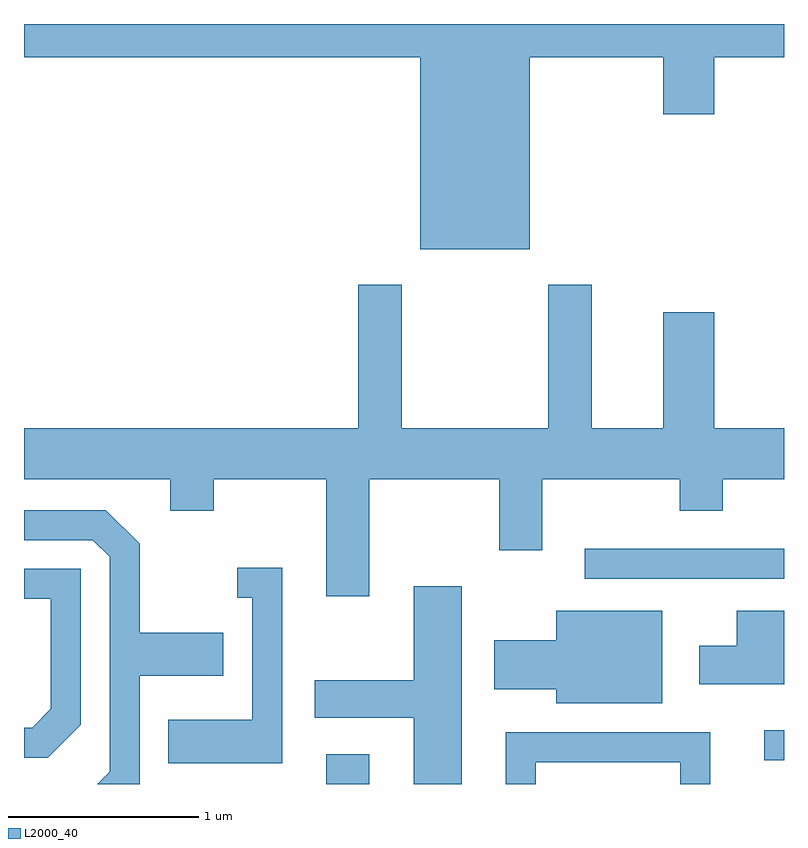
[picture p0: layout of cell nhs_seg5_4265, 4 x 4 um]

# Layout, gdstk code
import gdstk
lib = gdstk.Library(unit=1e-6, precision=1e-09)
def R(c, l, rs):  # rectangles x0, y0, x1, y1
    for r in rs: c.add(gdstk.rectangle(r[:2], r[2:], *l))
def P(c, l, *ps):  # polygons
    for p in ps: c.add(gdstk.Polygon(p, *l))
L2000_40 = (2000, 40)

nhs_seg5_4265 = lib.new_cell('nhs_seg5_4265')
R(nhs_seg5_4265, L2000_40, [(313.201,1464.072,313.429,1464.229), (315.508,1464.196,315.611,1464.354), (314.563,1465.151,315.611,1465.309)])
P(nhs_seg5_4265, L2000_40, [(314.274,1467.896),(314.976,1467.896),(314.976,1467.596),(315.244,1467.596),(315.244,1467.896),(315.611,1467.896),(315.611,1468.072),(311.611,1468.072),(311.611,1467.896),(313.696,1467.896),(313.696,1466.886),(314.274,1466.886)],
  [(313.429,1465.676),(314.111,1465.676),(314.111,1465.301),(314.339,1465.301),(314.339,1465.676),(315.061,1465.676),(315.061,1465.511),(315.289,1465.511),(315.289,1465.676),(315.611,1465.676),(315.611,1465.944),(315.244,1465.944),(315.244,1466.554),(314.976,1466.554),(314.976,1465.944),(314.599,1465.944),(314.599,1466.699),(314.371,1466.699),(314.371,1465.944),(313.599,1465.944),(313.599,1466.699),(313.371,1466.699),(313.371,1465.944),(311.611,1465.944),(311.611,1465.676),(312.381,1465.676),(312.381,1465.511),(312.609,1465.511),(312.609,1465.676),(313.201,1465.676),(313.201,1465.061),(313.429,1465.061)],
  [(312.219,1464.641),(312.659,1464.641),(312.659,1464.869),(312.219,1464.869),(312.219,1465.337),(312.042,1465.514),(311.611,1465.514),(311.611,1465.356),(311.974,1465.356),(312.061,1465.269),(312.061,1464.137),(311.997,1464.072),(312.219,1464.072)],
  [(312.969,1465.209),(312.733,1465.209),(312.733,1465.051),(312.811,1465.051),(312.811,1464.409),(312.371,1464.409),(312.371,1464.181),(312.969,1464.181)],
  [(311.909,1464.384),(311.909,1465.204),(311.611,1465.204),(311.611,1465.046),(311.751,1465.046),(311.751,1464.467),(311.654,1464.369),(311.611,1464.369),(311.611,1464.211),(311.737,1464.211)],
  [(313.914,1465.114),(313.661,1465.114),(313.661,1464.619),(313.141,1464.619),(313.141,1464.421),(313.661,1464.421),(313.661,1464.072),(313.914,1464.072)],
  [(314.969,1464.984),(314.411,1464.984),(314.411,1464.829),(314.086,1464.829),(314.086,1464.571),(314.411,1464.571),(314.411,1464.496),(314.969,1464.496)],
  [(315.611,1464.984),(315.361,1464.984),(315.361,1464.799),(315.166,1464.799),(315.166,1464.596),(315.611,1464.596)],
  [(314.304,1464.186),(315.066,1464.186),(315.066,1464.072),(315.224,1464.072),(315.224,1464.344),(314.146,1464.344),(314.146,1464.072),(314.304,1464.072)])

lib.write_gds('nhs_seg5_4265.gds')
